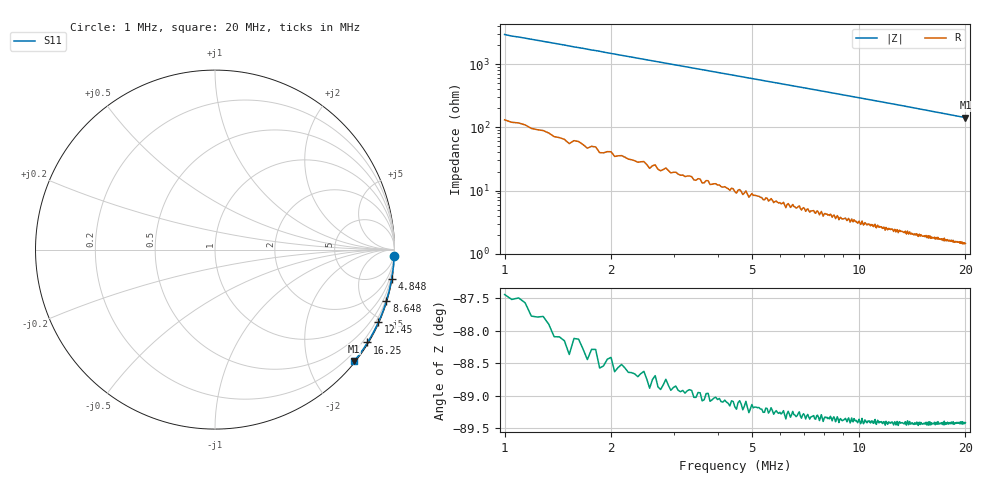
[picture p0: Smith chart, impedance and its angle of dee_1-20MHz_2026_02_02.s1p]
# HZ S RI R 50
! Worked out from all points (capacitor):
!   401 points, 1 MHz to 20 MHz, reference 50 ohm
!   read as one part to ground: C = 53.9 pF near 1.095 MHz
!   lowest |Z| = 143 ohm at 20 MHz (marker M1)
!   S11 on the Smith chart (normalised r, x): 1 MHz: 3, -59; 4.848 MHz: 0, -12; 8.648 MHz: 0.08, -6.82; 12.45 MHz: 0.05, -4.71; 16.25 MHz: 0.04, -3.56; 20 MHz: 0.03, -2.85
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1000000  0.9979 -0.0338
1095000  0.9977 -0.0371
1190000  0.9976 -0.0402
1807500  0.9963 -0.0608
2282500  0.9952 -0.0768
3375000  0.9914 -0.1131
4230000  0.9877 -0.1416
4847500  0.9845 -0.1618
5750000  0.979 -0.1918
6320000  0.9747 -0.2105
6985000  0.9697 -0.2321
8125000  0.9599 -0.269
8647500  0.9549 -0.2861
9550000  0.9454 -0.3145
1.05e7  0.9349 -0.3445
1.126e7  0.9255 -0.3684
1.24475e7  0.9098 -0.4048
1.2875e7  0.9038 -0.4178
1.354e7  0.8939 -0.4378
1.42525e7  0.8832 -0.4592
1.525e7  0.8668 -0.4887
1.62475e7  0.8496 -0.5175
1.6865e7  0.8384 -0.535
1.7625e7  0.8242 -0.5562
1.86225e7  0.8046 -0.5841
1.95725e7  0.7849 -0.6092
1.9905e7  0.7779 -0.6182
2e7  0.776 -0.6206
